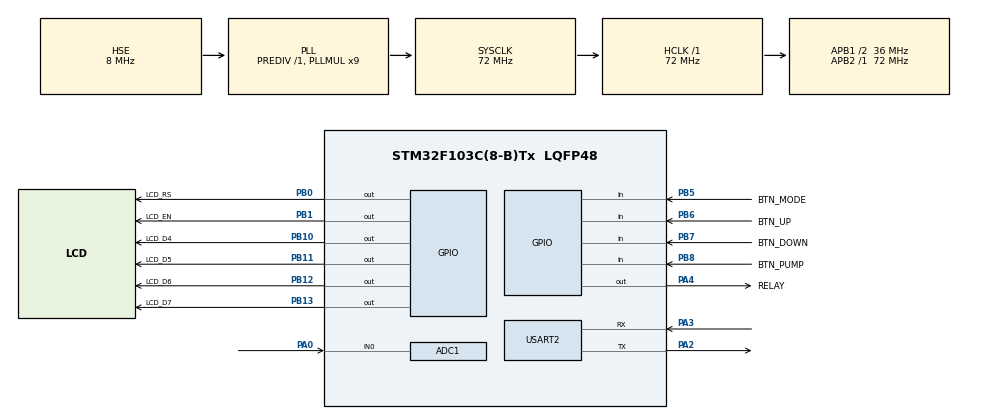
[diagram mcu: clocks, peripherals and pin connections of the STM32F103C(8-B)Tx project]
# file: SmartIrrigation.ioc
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ADC1.Channel-0\#ChannelRegularConversion=ADC_CHANNEL_0
ADC1.ContinuousConvMode=DISABLE
ADC1.NbrOfConversionFlag=1
ADC1.Rank-0\#ChannelRegularConversion=1
ADC1.SamplingTime-0\#ChannelRegularConversion=ADC_SAMPLETIME_1CYCLE_5
ADC1.master=1
FREERTOS.Mutexes01=systemDataMutex,Dynamic,NULL,Available
FREERTOS.Tasks01=buttonTask,0,128,StartbuttonTask,Default,NULL,Dynamic,NULL,NULL;sensorTask,0,128,StartsensorTask,Default,NULL,Dynamic,NULL,NULL;controlTask,0,128,StartcontrolTask,Default,NULL,Dynamic,NULL,NULL;displayTask,0,128,StartdisplayTask,Default,NULL,Dynamic,NULL,NULL;uartTask,0,384,StartuartTask,Default,NULL,Dynamic,NULL,NULL
FREERTOS.configTOTAL_HEAP_SIZE=8192
FREERTOS.configUSE_NEWLIB_REENTRANT=1
Mcu.Family=STM32F1
Mcu.Name=STM32F103C(8-B)Tx
Mcu.Package=LQFP48
NVIC.PriorityGroup=NVIC_PRIORITYGROUP_4
NVIC.TIM2_IRQn=true\:15\:0\:false\:false\:true\:false\:false\:true\:true
NVIC.TimeBase=TIM2_IRQn
NVIC.TimeBaseIP=TIM2
NVIC.USART2_IRQn=true\:5\:0\:false\:false\:true\:true\:true\:true\:true
PA0-WKUP.Signal=ADCx_IN0
PA13.Mode=Serial_Wire
PA13.Signal=SYS_JTMS-SWDIO
PA14.Mode=Serial_Wire
PA14.Signal=SYS_JTCK-SWCLK
PA2.Mode=Asynchronous
PA2.Signal=USART2_TX
PA3.Mode=Asynchronous
PA3.Signal=USART2_RX
PA4.GPIO_Label=RELAY
PA4.PinState=GPIO_PIN_SET
PA4.Signal=GPIO_Output
PB0.GPIO_Label=LCD_RS
PB0.Signal=GPIO_Output
PB1.GPIO_Label=LCD_EN
PB1.Signal=GPIO_Output
PB10.GPIO_Label=LCD_D4
PB10.Signal=GPIO_Output
PB11.GPIO_Label=LCD_D5
PB11.Signal=GPIO_Output
PB12.GPIO_Label=LCD_D6
PB12.Signal=GPIO_Output
PB13.GPIO_Label=LCD_D7
PB13.Signal=GPIO_Output
PB5.GPIO_Label=BTN_MODE
PB5.GPIO_PuPd=GPIO_PULLUP
PB5.Signal=GPIO_Input
PB6.GPIO_Label=BTN_UP
PB6.GPIO_PuPd=GPIO_PULLUP
PB6.Signal=GPIO_Input
PB7.GPIO_Label=BTN_DOWN
PB7.GPIO_PuPd=GPIO_PULLUP
PB7.Signal=GPIO_Input
PB8.GPIO_Label=BTN_PUMP
PB8.GPIO_PuPd=GPIO_PULLUP
PB8.Signal=GPIO_Input
PD0-OSC_IN.Mode=HSE-External-Oscillator
PD0-OSC_IN.Signal=RCC_OSC_IN
PD1-OSC_OUT.Mode=HSE-External-Oscillator
PD1-OSC_OUT.Signal=RCC_OSC_OUT
ProjectManager.HeapSize=0x200
ProjectManager.StackSize=0x400
ProjectManager.TargetToolchain=STM32CubeIDE
RCC.ADCPresc=RCC_ADCPCLK2_DIV6
RCC.AHBFreq_Value=72000000
RCC.APB1CLKDivider=RCC_HCLK_DIV2
RCC.APB1Freq_Value=36000000
RCC.APB1TimFreq_Value=72000000
RCC.APB2Freq_Value=72000000
RCC.APB2TimFreq_Value=72000000
RCC.HCLKFreq_Value=72000000
RCC.PLLMUL=RCC_PLL_MUL9
RCC.PLLSourceVirtual=RCC_PLLSOURCE_HSE
RCC.SYSCLKFreq_VALUE=72000000
RCC.SYSCLKSource=RCC_SYSCLKSOURCE_PLLCLK
RCC.USBFreq_Value=72000000
SH.ADCx_IN0.0=ADC1_IN0,IN0
USART2.VirtualMode=VM_ASYNC
VP_FREERTOS_VS_CMSIS_V1.Mode=CMSIS_V1
VP_SYS_VS_tim2.Mode=TIM2
board=custom

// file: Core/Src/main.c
/* USER CODE BEGIN Header */
/**
  ******************************************************************************
  * @file           : main.c
  * @brief          : Main program body
  ******************************************************************************
  * @attention
  *
  * Copyright (c) 2026 STMicroelectronics.
  * All rights reserved.
  *
  * This software is licensed under terms that can be found in the LICENSE file
  * in the root directory of this software component.
  * If no LICENSE file comes with this software, it is provided AS-IS.
  *
  ******************************************************************************
  */
/* USER CODE END Header */
#include "main.h"
#include "cmsis_os.h"
#include "adc.h"
#include "usart.h"
#include "gpio.h"

void SystemClock_Config(void);
void MX_FREERTOS_Init(void);

int main(void)
{

  /* MCU Configuration--------------------------------------------------------*/

  /* Reset of all peripherals, Initializes the Flash interface and the Systick. */
  HAL_Init();

  /* Configure the system clock */
  SystemClock_Config();

  /* Initialize all configured peripherals */
  MX_GPIO_Init();
  MX_ADC1_Init();
  MX_USART2_UART_Init();

  /* Call init function for freertos objects (in cmsis_os2.c) */
  MX_FREERTOS_Init();

  /* Start scheduler */
  osKernelStart();

  /* We should never get here as control is now taken by the scheduler */

  /* Infinite loop */
  while (1)
  {

  }
}

void SystemClock_Config(void)
{
  RCC_OscInitTypeDef RCC_OscInitStruct = {0};
  RCC_ClkInitTypeDef RCC_ClkInitStruct = {0};
  RCC_PeriphCLKInitTypeDef PeriphClkInit = {0};

  /** Initializes the RCC Oscillators according to the specified parameters
  * in the RCC_OscInitTypeDef structure.
  */
  RCC_OscInitStruct.OscillatorType = RCC_OSCILLATORTYPE_HSE;
  RCC_OscInitStruct.HSEState = RCC_HSE_ON;
  RCC_OscInitStruct.HSEPredivValue = RCC_HSE_PREDIV_DIV1;
  RCC_OscInitStruct.HSIState = RCC_HSI_ON;
  RCC_OscInitStruct.PLL.PLLState = RCC_PLL_ON;
  RCC_OscInitStruct.PLL.PLLSource = RCC_PLLSOURCE_HSE;
  RCC_OscInitStruct.PLL.PLLMUL = RCC_PLL_MUL9;
  if (HAL_RCC_OscConfig(&RCC_OscInitStruct) != HAL_OK)
  {
    Error_Handler();
  }

  /** Initializes the CPU, AHB and APB buses clocks
  */
  RCC_ClkInitStruct.ClockType = RCC_CLOCKTYPE_HCLK|RCC_CLOCKTYPE_SYSCLK
                              |RCC_CLOCKTYPE_PCLK1|RCC_CLOCKTYPE_PCLK2;
  RCC_ClkInitStruct.SYSCLKSource = RCC_SYSCLKSOURCE_PLLCLK;
  RCC_ClkInitStruct.AHBCLKDivider = RCC_SYSCLK_DIV1;
  RCC_ClkInitStruct.APB1CLKDivider = RCC_HCLK_DIV2;
  RCC_ClkInitStruct.APB2CLKDivider = RCC_HCLK_DIV1;

  if (HAL_RCC_ClockConfig(&RCC_ClkInitStruct, FLASH_LATENCY_2) != HAL_OK)
  {
    Error_Handler();
  }
  PeriphClkInit.PeriphClockSelection = RCC_PERIPHCLK_ADC;
  PeriphClkInit.AdcClockSelection = RCC_ADCPCLK2_DIV6;
  if (HAL_RCCEx_PeriphCLKConfig(&PeriphClkInit) != HAL_OK)
  {
    Error_Handler();
  }
}

void HAL_TIM_PeriodElapsedCallback(TIM_HandleTypeDef *htim)
{
  if (htim->Instance == TIM2)
  {
    HAL_IncTick();
  }
}

void Error_Handler(void)
{
  __disable_irq();
  while (1)
  {
  }
}

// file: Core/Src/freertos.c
/* USER CODE BEGIN Header */
/**
  ******************************************************************************
  * File Name          : freertos.c
  * Description        : Code for freertos applications
  ******************************************************************************
  * @attention
  *
  * Copyright (c) 2026 STMicroelectronics.
  * All rights reserved.
  *
  * This software is licensed under terms that can be found in the LICENSE file
  * in the root directory of this software component.
  * If no LICENSE file comes with this software, it is provided AS-IS.
  *
  ******************************************************************************
  */
/* USER CODE END Header */

#include "FreeRTOS.h"
#include "task.h"
#include "main.h"
#include "cmsis_os.h"

/* USER CODE BEGIN Includes */
#include "app_types.h"
#include "app_config.h"
#include "soil_sensor.h"
#include "button.h"
#include "relay_pump.h"
#include "lcd16x02.h"
#include "uart_comm.h"
#include "irrigation_control.h"
/* USER CODE END Includes */

/* USER CODE BEGIN Variables */
volatile uint32_t g_button_press_count[BUTTON_COUNT] = {0U};
system_data_t g_system_data =
{
    .soil_percent = 0U,
    .setpoint_percent = DEFAULT_SETPOINT,
    .mode = MODE_AUTO,
    .pump_on = false,
    .sensor_valid = false
};
/* USER CODE END Variables */
osThreadId buttonTaskHandle;
osThreadId sensorTaskHandle;
osThreadId controlTaskHandle;
osThreadId displayTaskHandle;
osThreadId uartTaskHandle;
osMutexId systemDataMutexHandle;

void StartbuttonTask(void const * argument);
void StartsensorTask(void const * argument);
void StartcontrolTask(void const * argument);
void StartdisplayTask(void const * argument);
void StartuartTask(void const * argument);

void MX_FREERTOS_Init(void); /* (MISRA C 2004 rule 8.1) */

/* GetIdleTaskMemory prototype (linked to static allocation support) */
void vApplicationGetIdleTaskMemory( StaticTask_t **ppxIdleTaskTCBBuffer, StackType_t **ppxIdleTaskStackBuffer, uint32_t *pulIdleTaskStackSize );

/* USER CODE BEGIN GET_IDLE_TASK_MEMORY */
static StaticTask_t xIdleTaskTCBBuffer;
static StackType_t xIdleStack[configMINIMAL_STACK_SIZE];

void vApplicationGetIdleTaskMemory( StaticTask_t **ppxIdleTaskTCBBuffer, StackType_t **ppxIdleTaskStackBuffer, uint32_t *pulIdleTaskStackSize )
{
  *ppxIdleTaskTCBBuffer = &xIdleTaskTCBBuffer;
  *ppxIdleTaskStackBuffer = &xIdleStack[0];
  *pulIdleTaskStackSize = configMINIMAL_STACK_SIZE;
  /* place for user code */
}
/* USER CODE END GET_IDLE_TASK_MEMORY */

void MX_FREERTOS_Init(void) {
  /* Create the mutex(es) */
  /* definition and creation of systemDataMutex */
  osMutexDef(systemDataMutex);
  systemDataMutexHandle = osMutexCreate(osMutex(systemDataMutex));

  /* Create the thread(s) */
  /* definition and creation of buttonTask */
  osThreadDef(buttonTask, StartbuttonTask, osPriorityNormal, 0, 128);
  buttonTaskHandle = osThreadCreate(osThread(buttonTask), NULL);

  /* definition and creation of sensorTask */
  osThreadDef(sensorTask, StartsensorTask, osPriorityNormal, 0, 128);
  sensorTaskHandle = osThreadCreate(osThread(sensorTask), NULL);

  /* definition and creation of controlTask */
  osThreadDef(controlTask, StartcontrolTask, osPriorityNormal, 0, 128);
  controlTaskHandle = osThreadCreate(osThread(controlTask), NULL);

  /* definition and creation of displayTask */
  osThreadDef(displayTask, StartdisplayTask, osPriorityNormal, 0, 128);
  displayTaskHandle = osThreadCreate(osThread(displayTask), NULL);

  /* definition and creation of uartTask */
  osThreadDef(uartTask, StartuartTask, osPriorityNormal, 0, 384);
  uartTaskHandle = osThreadCreate(osThread(uartTask), NULL);

}

void StartbuttonTask(void const * argument)
{
  /* USER CODE BEGIN StartbuttonTask */
	button_init();
  /* Infinite loop */
  for(;;)
  {
    button_process();

    for (uint32_t i = 0U; i < BUTTON_COUNT; i++)
    {
      if (button_take_press((button_id_t)i))
      {
        g_button_press_count[i]++;
      }
    }

    osDelay(BUTTON_PERIOD_MS);
  }
  /* USER CODE END StartbuttonTask */
}

void StartsensorTask(void const * argument)
{
  /* USER CODE BEGIN StartsensorTask */
  /* Infinite loop */
  for(;;)
  {
    osDelay(1000);
  }
  /* USER CODE END StartsensorTask */
}

void StartcontrolTask(void const * argument)
{
  /* USER CODE BEGIN StartcontrolTask */
  /* Infinite loop */
  for(;;)
  {
    osDelay(100);
  }
  /* USER CODE END StartcontrolTask */
}

void StartdisplayTask(void const * argument)
{
  /* USER CODE BEGIN StartdisplayTask */
  /* Infinite loop */
  for(;;)
  {
    osDelay(200);
  }
  /* USER CODE END StartdisplayTask */
}

void StartuartTask(void const * argument)
{
  /* USER CODE BEGIN StartuartTask */
  /* Infinite loop */
	system_data_t snapshot;

	uart_comm_init();

  for (;;)
  {
	if (osMutexWait(systemDataMutexHandle, osWaitForever) == osOK)
	{
	  snapshot = g_system_data;
	  osMutexRelease(systemDataMutexHandle);

	  uart_comm_send_status(&snapshot);
	}

	osDelay(UART_PERIOD_MS);
  }
  /* USER CODE END StartuartTask */
}
